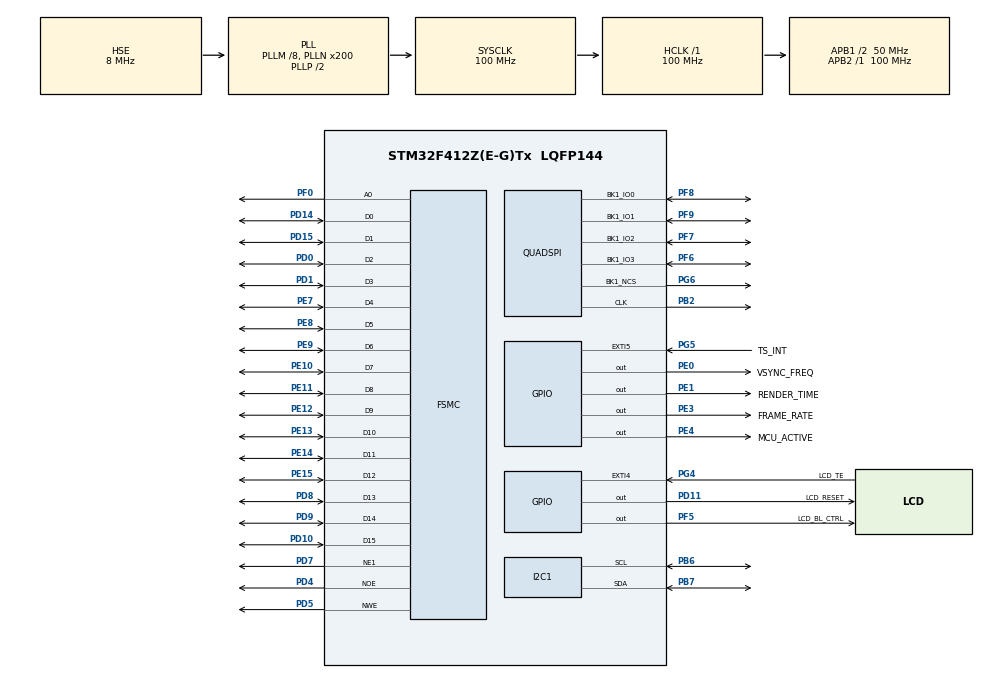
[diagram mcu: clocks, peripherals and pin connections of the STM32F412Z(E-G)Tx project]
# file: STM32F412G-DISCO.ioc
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FREERTOS.INCLUDE_eTaskGetState=1
FREERTOS.INCLUDE_pcTaskGetTaskName=0
FREERTOS.INCLUDE_uxTaskGetStackHighWaterMark=1
FREERTOS.INCLUDE_vTaskCleanUpResources=0
FREERTOS.INCLUDE_vTaskDelayUntil=1
FREERTOS.INCLUDE_xQueueGetMutexHolder=1
FREERTOS.INCLUDE_xSemaphoreGetMutexHolder=1
FREERTOS.INCLUDE_xTimerPendFunctionCall=1
FREERTOS.MEMORY_ALLOCATION=2
FREERTOS.Tasks01=defaultTask,24,128,StartDefaultTask,Default,NULL,Dynamic,NULL,NULL;TouchGFXTask,24,4096,TouchGFX_Task,As external,NULL,Dynamic,NULL,NULL
FREERTOS.configTOTAL_HEAP_SIZE=32768
FREERTOS.configUSE_APPLICATION_TASK_TAG=1
FREERTOS.configUSE_COUNTING_SEMAPHORES=1
FREERTOS.configUSE_IDLE_HOOK=1
FREERTOS.configUSE_RECURSIVE_MUTEXES=1
FREERTOS.configUSE_TIMERS=1
FREERTOS.configUSE_TRACE_FACILITY=1
FSMC.AddressSetupTime1=9
FSMC.BusTurnAroundDuration1=1
FSMC.DataSetupTime1=36
FSMC.ExtendedAddressSetupTime1=1
FSMC.ExtendedBusTurnAroundDuration1=0
FSMC.ExtendedDataSetupTime1=7
FSMC.ExtendedMode1=FSMC_EXTENDED_MODE_ENABLE
FSMC.WriteFifo1=FSMC_WRITE_FIFO_DISABLE
FSMC.WriteOperation1=FSMC_WRITE_OPERATION_ENABLE
Mcu.Family=STM32F4
Mcu.Name=STM32F412Z(E-G)Tx
Mcu.Package=LQFP144
NVIC.EXTI4_IRQn=true\:5\:0\:true\:false\:true\:false\:true\:true\:true
NVIC.EXTI9_5_IRQn=true\:5\:0\:false\:false\:true\:true\:true\:true\:true
NVIC.I2C1_EV_IRQn=true\:1\:0\:true\:false\:true\:false\:true\:true\:true
NVIC.PriorityGroup=NVIC_PRIORITYGROUP_4
NVIC.TIM6_IRQn=true\:0\:0\:false\:false\:true\:false\:false\:true\:true
NVIC.TimeBase=TIM6_IRQn
NVIC.TimeBaseIP=TIM6
PB2.Mode=Single Bank 1
PB2.Signal=QUADSPI_CLK
PB6.GPIO_Pu=GPIO_PULLUP
PB6.Mode=I2C
PB6.Signal=I2C1_SCL
PB7.GPIO_Pu=GPIO_PULLUP
PB7.Mode=I2C
PB7.Signal=I2C1_SDA
PD0.GPIO_PuPd=GPIO_PULLUP
PD0.Signal=FSMC_D2_DA2
PD1.GPIO_PuPd=GPIO_PULLUP
PD1.Signal=FSMC_D3_DA3
PD10.GPIO_PuPd=GPIO_PULLUP
PD10.Signal=FSMC_D15_DA15
PD11.GPIO_Label=LCD_RESET
PD11.Signal=GPIO_Output
PD14.GPIO_PuPd=GPIO_PULLUP
PD14.Signal=FSMC_D0_DA0
PD15.GPIO_PuPd=GPIO_PULLUP
PD15.Signal=FSMC_D1_DA1
PD4.GPIO_PuPd=GPIO_PULLUP
PD4.Signal=FSMC_NOE
PD5.GPIO_PuPd=GPIO_PULLUP
PD5.Signal=FSMC_NWE
PD7.GPIO_PuPd=GPIO_PULLUP
PD7.Mode=NorPsramChipSelect1_1
PD7.Signal=FSMC_NE1
PD8.GPIO_PuPd=GPIO_PULLUP
PD8.Signal=FSMC_D13_DA13
PD9.GPIO_PuPd=GPIO_PULLUP
PD9.Signal=FSMC_D14_DA14
PE0.GPIO_Label=VSYNC_FREQ
PE0.GPIO_Speed=GPIO_SPEED_FREQ_VERY_HIGH
PE0.PinState=GPIO_PIN_RESET
PE0.Signal=GPIO_Output
PE1.GPIO_Label=RENDER_TIME
PE1.GPIO_Speed=GPIO_SPEED_FREQ_VERY_HIGH
PE1.PinState=GPIO_PIN_RESET
PE1.Signal=GPIO_Output
PE10.GPIO_PuPd=GPIO_PULLUP
PE10.Signal=FSMC_D7_DA7
PE11.GPIO_PuPd=GPIO_PULLUP
PE11.Signal=FSMC_D8_DA8
PE12.GPIO_PuPd=GPIO_PULLUP
PE12.Signal=FSMC_D9_DA9
PE13.GPIO_PuPd=GPIO_PULLUP
PE13.Signal=FSMC_D10_DA10
PE14.GPIO_PuPd=GPIO_PULLUP
PE14.Signal=FSMC_D11_DA11
PE15.GPIO_PuPd=GPIO_PULLUP
PE15.Signal=FSMC_D12_DA12
PE3.GPIO_Label=FRAME_RATE
PE3.GPIO_Speed=GPIO_SPEED_FREQ_VERY_HIGH
PE3.PinState=GPIO_PIN_RESET
PE3.Signal=GPIO_Output
PE4.GPIO_Label=MCU_ACTIVE
PE4.GPIO_Speed=GPIO_SPEED_FREQ_VERY_HIGH
PE4.PinState=GPIO_PIN_RESET
PE4.Signal=GPIO_Output
PE7.GPIO_PuPd=GPIO_PULLUP
PE7.Signal=FSMC_D4_DA4
PE8.GPIO_PuPd=GPIO_PULLUP
PE8.Signal=FSMC_D5_DA5
PE9.GPIO_PuPd=GPIO_PULLUP
PE9.Signal=FSMC_D6_DA6
PF0.GPIO_PuPd=GPIO_PULLUP
PF0.Signal=FSMC_A0
PF5.GPIO_Label=LCD_BL_CTRL
PF5.GPIO_Speed=GPIO_SPEED_FREQ_LOW
PF5.PinState=GPIO_PIN_RESET
PF5.Signal=GPIO_Output
PF6.Mode=Single Bank 1
PF6.Signal=QUADSPI_BK1_IO3
PF7.Mode=Single Bank 1
PF7.Signal=QUADSPI_BK1_IO2
PF8.Mode=Single Bank 1
PF8.Signal=QUADSPI_BK1_IO0
PF9.Mode=Single Bank 1
PF9.Signal=QUADSPI_BK1_IO1
PG4.GPIO_Label=LCD_TE
PG4.GPIO_ModeDefaultEXTI=GPIO_MODE_IT_RISING_FALLING
PG4.Signal=GPXTI4
PG5.GPIO_Label=TS_INT
PG5.GPIO_ModeDefaultEXTI=GPIO_MODE_IT_FALLING
PG5.Signal=GPXTI5
PG6.Mode=Single Bank 1
PG6.Signal=QUADSPI_BK1_NCS
PH0\ -\ OSC_IN.Mode=HSE-External-Oscillator
PH0\ -\ OSC_IN.Signal=RCC_OSC_IN
PH1\ -\ OSC_OUT.Mode=HSE-External-Oscillator
PH1\ -\ OSC_OUT.Signal=RCC_OSC_OUT
ProjectManager.HeapSize=0x400
ProjectManager.StackSize=0x400
ProjectManager.TargetToolchain=STM32CubeIDE
QUADSPI.ChipSelectHighTime=QSPI_CS_HIGH_TIME_5_CYCLE
QUADSPI.ClockPrescaler=0
QUADSPI.FifoThreshold=4
QUADSPI.FlashSize=23
QUADSPI.SampleShifting=QSPI_SAMPLE_SHIFTING_HALFCYCLE
RCC.AHBFreq_Value=100000000
RCC.APB1CLKDivider=RCC_HCLK_DIV2
RCC.APB1Freq_Value=50000000
RCC.APB1TimFreq_Value=100000000
RCC.APB2Freq_Value=100000000
RCC.APB2TimFreq_Value=100000000
RCC.CortexFreq_Value=100000000
RCC.HCLKFreq_Value=100000000
RCC.HSE_VALUE=8000000
RCC.PLLI2SM=8
RCC.PLLI2SP=RCC_PLLI2SP_DIV4
RCC.PLLM=8
RCC.PLLN=200
RCC.PLLSourceVirtual=RCC_PLLSOURCE_HSE
RCC.SYSCLKFreq_VALUE=100000000
RCC.SYSCLKSource=RCC_SYSCLKSOURCE_PLLCLK
RCC.USBFreq_Value=100000000
RCC.VCOOutputFreq_Value=200000000
SH.FSMC_A0.0=FSMC_A0,A0_1
SH.FSMC_D0_DA0.0=FSMC_D0,16b-d1
SH.FSMC_D10_DA10.0=FSMC_D10,16b-d1
SH.FSMC_D11_DA11.0=FSMC_D11,16b-d1
SH.FSMC_D12_DA12.0=FSMC_D12,16b-d1
SH.FSMC_D13_DA13.0=FSMC_D13,16b-d1
SH.FSMC_D14_DA14.0=FSMC_D14,16b-d1
SH.FSMC_D15_DA15.0=FSMC_D15,16b-d1
SH.FSMC_D1_DA1.0=FSMC_D1,16b-d1
SH.FSMC_D2_DA2.0=FSMC_D2,16b-d1
SH.FSMC_D3_DA3.0=FSMC_D3,16b-d1
SH.FSMC_D4_DA4.0=FSMC_D4,16b-d1
SH.FSMC_D5_DA5.0=FSMC_D5,16b-d1
SH.FSMC_D6_DA6.0=FSMC_D6,16b-d1
SH.FSMC_D7_DA7.0=FSMC_D7,16b-d1
SH.FSMC_D8_DA8.0=FSMC_D8,16b-d1
SH.FSMC_D9_DA9.0=FSMC_D9,16b-d1
SH.FSMC_NOE.0=FSMC_NOE,Lcd1
SH.FSMC_NWE.0=FSMC_NWE,Lcd1
VP_CRC_VS_CRC.Mode=CRC_Activate
VP_FREERTOS_VS_CMSIS_V2.Mode=CMSIS_V2
VP_SYS_VS_tim6.Mode=TIM6
board=custom

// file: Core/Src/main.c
/* USER CODE BEGIN Header */
/**
  ******************************************************************************
  * @file           : main.c
  * @brief          : Main program body
  ******************************************************************************
  * @attention
  *
  * <h2><center>&copy; Copyright (c) 2020 STMicroelectronics.
  * All rights reserved.</center></h2>
  *
  * This software component is licensed by ST under Ultimate Liberty license
  * SLA0044, the "License"; You may not use this file except in compliance with
  * the License. You may obtain a copy of the License at:
  *                             www.st.com/SLA0044
  *
  ******************************************************************************
  */
/* USER CODE END Header */
#include "main.h"
#include "cmsis_os.h"
#include "crc.h"
#include "i2c.h"
#include "quadspi.h"
#include "gpio.h"
#include "fsmc.h"

/* USER CODE BEGIN Includes */
#if !defined(USE_BSP_DRIVER)
#include "../n25q128a/n25q128a.h"
#else
#include "stm32412g_discovery_qspi.h"
#endif /* ! USE_BSP_DRIVER */
/* USER CODE END Includes */

/* USER CODE BEGIN PD */
/* QSPI Error codes */
#if !defined(USE_BSP_DRIVER)
#define QSPI_OK            ((uint8_t)0x00)
#define QSPI_ERROR         ((uint8_t)0x01)
#define QSPI_BUSY          ((uint8_t)0x02)
#define QSPI_NOT_SUPPORTED ((uint8_t)0x04)
#define QSPI_SUSPENDED     ((uint8_t)0x08)
#endif /* ! USE_BSP_DRIVER */
/* USER CODE END PD */

void SystemClock_Config(void);
void MX_FREERTOS_Init(void);
/* USER CODE BEGIN PFP */
extern void TouchGFX_TickHandler(uint8_t PinStatus);
__weak uint8_t BSP_QSPI_EnableMemoryMappedMode(void);
/* USER CODE END PFP */

int main(void)
{

  /* MCU Configuration--------------------------------------------------------*/

  /* Reset of all peripherals, Initializes the Flash interface and the Systick. */
  HAL_Init();

  /* Configure the system clock */
  SystemClock_Config();

  /* Initialize all configured peripherals */
  MX_GPIO_Init();
  MX_CRC_Init();
  MX_FSMC_Init();
  MX_I2C1_Init();
  MX_QUADSPI_Init();

  /* Init scheduler */
  osKernelInitialize();

  /* Call init function for freertos objects (in cmsis_os2.c) */
  MX_FREERTOS_Init();

  /* Start scheduler */
  osKernelStart();

  /* We should never get here as control is now taken by the scheduler */

  /* Infinite loop */
  while (1)
  {

  }
}

void SystemClock_Config(void)
{
  RCC_OscInitTypeDef RCC_OscInitStruct = {0};
  RCC_ClkInitTypeDef RCC_ClkInitStruct = {0};

  /** Configure the main internal regulator output voltage
  */
  __HAL_RCC_PWR_CLK_ENABLE();
  __HAL_PWR_VOLTAGESCALING_CONFIG(PWR_REGULATOR_VOLTAGE_SCALE1);

  /** Initializes the RCC Oscillators according to the specified parameters
  * in the RCC_OscInitTypeDef structure.
  */
  RCC_OscInitStruct.OscillatorType = RCC_OSCILLATORTYPE_HSE;
  RCC_OscInitStruct.HSEState = RCC_HSE_ON;
  RCC_OscInitStruct.PLL.PLLState = RCC_PLL_ON;
  RCC_OscInitStruct.PLL.PLLSource = RCC_PLLSOURCE_HSE;
  RCC_OscInitStruct.PLL.PLLM = 8;
  RCC_OscInitStruct.PLL.PLLN = 200;
  RCC_OscInitStruct.PLL.PLLP = RCC_PLLP_DIV2;
  RCC_OscInitStruct.PLL.PLLQ = 2;
  RCC_OscInitStruct.PLL.PLLR = 2;
  if (HAL_RCC_OscConfig(&RCC_OscInitStruct) != HAL_OK)
  {
    Error_Handler();
  }

  /** Initializes the CPU, AHB and APB buses clocks
  */
  RCC_ClkInitStruct.ClockType = RCC_CLOCKTYPE_HCLK|RCC_CLOCKTYPE_SYSCLK
                              |RCC_CLOCKTYPE_PCLK1|RCC_CLOCKTYPE_PCLK2;
  RCC_ClkInitStruct.SYSCLKSource = RCC_SYSCLKSOURCE_PLLCLK;
  RCC_ClkInitStruct.AHBCLKDivider = RCC_SYSCLK_DIV1;
  RCC_ClkInitStruct.APB1CLKDivider = RCC_HCLK_DIV2;
  RCC_ClkInitStruct.APB2CLKDivider = RCC_HCLK_DIV1;

  if (HAL_RCC_ClockConfig(&RCC_ClkInitStruct, FLASH_LATENCY_3) != HAL_OK)
  {
    Error_Handler();
  }
}

/* USER CODE BEGIN 4 */
/************************************************  QSPI BSP ************************************************/
__weak uint8_t BSP_QSPI_EnableMemoryMappedMode(void)
{
  QSPI_CommandTypeDef      s_command;
  QSPI_MemoryMappedTypeDef s_mem_mapped_cfg;

  /* Configure the command for the read instruction */
  s_command.InstructionMode   = QSPI_INSTRUCTION_1_LINE;
  s_command.Instruction       = QUAD_INOUT_FAST_READ_CMD;
  s_command.AddressMode       = QSPI_ADDRESS_4_LINES;
  s_command.AddressSize       = QSPI_ADDRESS_24_BITS;
  s_command.AlternateByteMode = QSPI_ALTERNATE_BYTES_NONE;
  s_command.DataMode          = QSPI_DATA_4_LINES;
  s_command.DummyCycles       = N25Q128A_DUMMY_CYCLES_READ_QUAD;
  s_command.DdrMode           = QSPI_DDR_MODE_DISABLE;
  s_command.DdrHoldHalfCycle  = QSPI_DDR_HHC_ANALOG_DELAY;
  s_command.SIOOMode          = QSPI_SIOO_INST_EVERY_CMD;

  /* Configure the memory mapped mode */
  s_mem_mapped_cfg.TimeOutActivation = QSPI_TIMEOUT_COUNTER_DISABLE;

  if (HAL_QSPI_MemoryMapped(&hqspi, &s_command, &s_mem_mapped_cfg) != HAL_OK)
  {
    return QSPI_ERROR;
  }

  return QSPI_OK;
}
/* USER CODE END 4 */

void HAL_TIM_PeriodElapsedCallback(TIM_HandleTypeDef *htim)
{
  if (htim->Instance == TIM6)
  {
    HAL_IncTick();
  }
}

void Error_Handler(void)
{
}

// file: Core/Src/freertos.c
/* USER CODE BEGIN Header */
/**
  ******************************************************************************
  * File Name          : freertos.c
  * Description        : Code for freertos applications
  ******************************************************************************
  * @attention
  *
  * <h2><center>&copy; Copyright (c) 2020 STMicroelectronics.
  * All rights reserved.</center></h2>
  *
  * This software component is licensed by ST under Ultimate Liberty license
  * SLA0044, the "License"; You may not use this file except in compliance with
  * the License. You may obtain a copy of the License at:
  *                             www.st.com/SLA0044
  *
  ******************************************************************************
  */
/* USER CODE END Header */

#include "FreeRTOS.h"
#include "task.h"
#include "main.h"
#include "cmsis_os.h"

/* Definitions for defaultTask */
osThreadId_t defaultTaskHandle;
const osThreadAttr_t defaultTask_attributes = {
  .name = "defaultTask",
  .stack_size = 128 * 4,
  .priority = (osPriority_t) osPriorityNormal,
};
/* Definitions for TouchGFXTask */
osThreadId_t TouchGFXTaskHandle;
const osThreadAttr_t TouchGFXTask_attributes = {
  .name = "TouchGFXTask",
  .stack_size = 4096 * 4,
  .priority = (osPriority_t) osPriorityNormal,
};

/* USER CODE BEGIN FunctionPrototypes */
   extern portBASE_TYPE IdleTaskHook(void* p);
/* USER CODE END FunctionPrototypes */

void StartDefaultTask(void *argument);
extern void TouchGFX_Task(void *argument);

void MX_FREERTOS_Init(void); /* (MISRA C 2004 rule 8.1) */

/* Hook prototypes */
void vApplicationIdleHook(void);

/* USER CODE BEGIN 2 */
void vApplicationIdleHook( void )
{
   /* vApplicationIdleHook() will only be called if configUSE_IDLE_HOOK is set
   to 1 in FreeRTOSConfig.h. It will be called on each iteration of the idle
   task. It is essential that code added to this hook function never attempts
   to block in any way (for example, call xQueueReceive() with a block time
   specified, or call vTaskDelay()). If the application makes use of the
   vTaskDelete() API function (as this demo application does) then it is also
   important that vApplicationIdleHook() is permitted to return to its calling
   function, because it is the responsibility of the idle task to clean up
   memory allocated by the kernel to any task that has since been deleted. */

  vTaskSetApplicationTaskTag(NULL, IdleTaskHook);
}
/* USER CODE END 2 */

void MX_FREERTOS_Init(void) {

  /* Create the thread(s) */
  /* creation of defaultTask */
  defaultTaskHandle = osThreadNew(StartDefaultTask, NULL, &defaultTask_attributes);

  /* creation of TouchGFXTask */
  TouchGFXTaskHandle = osThreadNew(TouchGFX_Task, NULL, &TouchGFXTask_attributes);

}

void StartDefaultTask(void *argument)
{
  for(;;)
  {
    osDelay(1);
  }
}
